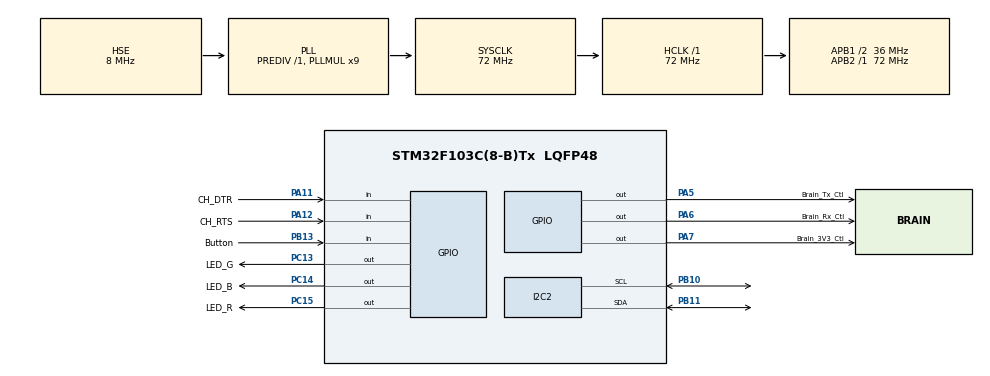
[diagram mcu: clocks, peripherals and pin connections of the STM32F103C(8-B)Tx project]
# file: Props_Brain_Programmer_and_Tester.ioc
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FREERTOS.Tasks01=defaultTask,24,128,StartDefaultTask,Default,NULL,Dynamic,NULL,NULL;buttonTask,8,128,StartButtonTask,Default,NULL,Dynamic,NULL,NULL
FREERTOS.configUSE_NEWLIB_REENTRANT=1
I2C2.OwnAddress=0x0d
Mcu.Family=STM32F1
Mcu.Name=STM32F103C(8-B)Tx
Mcu.Package=LQFP48
NVIC.I2C2_ER_IRQn=true\:5\:0\:false\:false\:true\:true\:true\:true\:true
NVIC.I2C2_EV_IRQn=true\:5\:0\:false\:false\:true\:true\:true\:true\:true
NVIC.PriorityGroup=NVIC_PRIORITYGROUP_4
PA11.GPIO_Label=CH_DTR
PA11.Signal=GPIO_Input
PA12.GPIO_Label=CH_RTS
PA12.Signal=GPIO_Input
PA5.GPIO_Label=Brain_Tx_Ctl
PA5.Signal=GPIO_Output
PA6.GPIO_Label=Brain_Rx_Ctl
PA6.Signal=GPIO_Output
PA7.GPIO_Label=Brain_3V3_Ctl
PA7.Signal=GPIO_Output
PB10.Mode=I2C
PB10.Signal=I2C2_SCL
PB11.Mode=I2C
PB11.Signal=I2C2_SDA
PB13.GPIO_Label=Button
PB13.Signal=GPIO_Input
PC13-TAMPER-RTC.GPIO_Label=LED_G
PC13-TAMPER-RTC.Signal=GPIO_Output
PC14-OSC32_IN.GPIO_Label=LED_B
PC14-OSC32_IN.Signal=GPIO_Output
PC15-OSC32_OUT.GPIO_Label=LED_R
PC15-OSC32_OUT.Signal=GPIO_Output
PD0-OSC_IN.Mode=HSE-External-Oscillator
PD0-OSC_IN.Signal=RCC_OSC_IN
PD1-OSC_OUT.Mode=HSE-External-Oscillator
PD1-OSC_OUT.Signal=RCC_OSC_OUT
ProjectManager.HeapSize=0x200
ProjectManager.StackSize=0x400
ProjectManager.TargetToolchain=STM32CubeIDE
RCC.AHBFreq_Value=72000000
RCC.APB1CLKDivider=RCC_HCLK_DIV2
RCC.APB1Freq_Value=36000000
RCC.APB1TimFreq_Value=72000000
RCC.APB2Freq_Value=72000000
RCC.APB2TimFreq_Value=72000000
RCC.HCLKFreq_Value=72000000
RCC.PLLMUL=RCC_PLL_MUL9
RCC.PLLSourceVirtual=RCC_PLLSOURCE_HSE
RCC.SYSCLKFreq_VALUE=72000000
RCC.SYSCLKSource=RCC_SYSCLKSOURCE_PLLCLK
RCC.USBFreq_Value=72000000
VP_FREERTOS_VS_CMSIS_V2.Mode=CMSIS_V2
board=custom

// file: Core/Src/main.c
/* USER CODE BEGIN Header */
/**
  ******************************************************************************
  * @file           : main.c
  * @brief          : Main program body
  ******************************************************************************
  * @attention
  *
  * Copyright (c) 2023 STMicroelectronics.
  * All rights reserved.
  *
  * This software is licensed under terms that can be found in the LICENSE file
  * in the root directory of this software component.
  * If no LICENSE file comes with this software, it is provided AS-IS.
  *
  ******************************************************************************
  */
/* USER CODE END Header */
#include "main.h"
#include "cmsis_os.h"

/* USER CODE BEGIN Includes */
#include <stdio.h>
/* USER CODE END Includes */

/* USER CODE BEGIN PTD */
enum SlaveMode {
	Receiving,
	Transmitting,
	Listening
} slaveMode = Listening;
/* USER CODE END PTD */

/* USER CODE BEGIN PD */
#define BUFFER_SIZE 9
/* USER CODE END PD */

I2C_HandleTypeDef hi2c2;

/* Definitions for defaultTask */
osThreadId_t defaultTaskHandle;
const osThreadAttr_t defaultTask_attributes = {
  .name = "defaultTask",
  .stack_size = 128 * 4,
  .priority = (osPriority_t) osPriorityNormal,
};
/* Definitions for buttonTask */
osThreadId_t buttonTaskHandle;
const osThreadAttr_t buttonTask_attributes = {
  .name = "buttonTask",
  .stack_size = 128 * 4,
  .priority = (osPriority_t) osPriorityLow,
};
/* USER CODE BEGIN PV */
uint8_t receivingBuffer[BUFFER_SIZE] = {0};
uint8_t receivingBufferDataSize = 0;

uint8_t transmittingBuffer[BUFFER_SIZE] = {0};
uint8_t transmittingBufferDataSize = 0;

uint16_t count = 0;
uint8_t RxData[BUFFER_SIZE];

uint8_t i2cButtonData[4] = {0x15, 0x01, 0xFE, 0x10};

uint8_t buttonState = 0; // 0 unpressed, 1 pressed
/* USER CODE END PV */

void SystemClock_Config(void);
static void MX_GPIO_Init(void);
static void MX_I2C2_Init(void);
void StartDefaultTask(void *argument);
void StartButtonTask(void *argument);

/* USER CODE BEGIN PFP */
void toggleGPIO(GPIO_TypeDef * GPIO_Port, uint16_t GPIO_Pin);
void i2c_send_button(I2C_HandleTypeDef *hi2c);

extern void HAL_I2C_ListenCpltCallback (I2C_HandleTypeDef *hi2c)
{
	HAL_I2C_EnableListen_IT(hi2c);
}

extern void HAL_I2C_AddrCallback(I2C_HandleTypeDef *hi2c, uint8_t TransferDirection, uint16_t AddrMatchCode)
{
	if(TransferDirection == I2C_DIRECTION_TRANSMIT)  // if the master wants to transmit the data
	{
		HAL_I2C_Slave_Sequential_Receive_IT(hi2c, RxData, 9, I2C_FIRST_AND_LAST_FRAME);
	}
	else  // master requesting the data is not supported yet
	{
		toggleGPIO(LED_B_GPIO_Port, LED_B_Pin);
		HAL_I2C_Slave_Sequential_Receive_IT(hi2c, RxData, 1, I2C_FIRST_AND_LAST_FRAME);
		if(buttonState)
		{
			i2cButtonData[1] = 0x01;
			i2cButtonData[2] = 0xFE;
		}
		else
		{
			i2cButtonData[1] = 0x00;
			i2cButtonData[2] = 0xFF;
		}
		i2c_send_button(hi2c);
//		Error_Handler();  // call error handler
	}
}

void i2c_send_button(I2C_HandleTypeDef *hi2c)
{
	HAL_I2C_Slave_Seq_Transmit_IT(hi2c, i2cButtonData, 4, I2C_FIRST_AND_LAST_FRAME);
}

void HAL_I2C_SlaveRxCpltCallback(I2C_HandleTypeDef *hi2c)
{
	count++;
}

void HAL_I2C_ErrorCallback(I2C_HandleTypeDef *hi2c)
{
	HAL_I2C_EnableListen_IT(hi2c);
}
/* USER CODE END PFP */

/* USER CODE BEGIN 0 */
//int _write(int file, char *ptr, int len)
//{
//	HAL_UART_Transmit( &huart2, (unsigned char*)ptr, len, HAL_MAX_DELAY );
//	return len;
//}
//
//#define PRINTF(...) printf(__VA_ARGS__)
/* USER CODE END 0 */

int main(void)
{

  /* MCU Configuration--------------------------------------------------------*/

  /* Reset of all peripherals, Initializes the Flash interface and the Systick. */
  HAL_Init();

  /* Configure the system clock */
  SystemClock_Config();

  /* Initialize all configured peripherals */
  MX_GPIO_Init();
  MX_I2C2_Init();

  /* Init scheduler */
  osKernelInitialize();

  /* Create the thread(s) */
  /* creation of defaultTask */
  defaultTaskHandle = osThreadNew(StartDefaultTask, NULL, &defaultTask_attributes);

  /* creation of buttonTask */
  buttonTaskHandle = osThreadNew(StartButtonTask, NULL, &buttonTask_attributes);

  /* Start scheduler */
  osKernelStart();

  /* We should never get here as control is now taken by the scheduler */
  /* Infinite loop */
  while (1)
  {

  }
}

void SystemClock_Config(void)
{
  RCC_OscInitTypeDef RCC_OscInitStruct = {0};
  RCC_ClkInitTypeDef RCC_ClkInitStruct = {0};

  /** Initializes the RCC Oscillators according to the specified parameters
  * in the RCC_OscInitTypeDef structure.
  */
  RCC_OscInitStruct.OscillatorType = RCC_OSCILLATORTYPE_HSE;
  RCC_OscInitStruct.HSEState = RCC_HSE_ON;
  RCC_OscInitStruct.HSEPredivValue = RCC_HSE_PREDIV_DIV1;
  RCC_OscInitStruct.HSIState = RCC_HSI_ON;
  RCC_OscInitStruct.PLL.PLLState = RCC_PLL_ON;
  RCC_OscInitStruct.PLL.PLLSource = RCC_PLLSOURCE_HSE;
  RCC_OscInitStruct.PLL.PLLMUL = RCC_PLL_MUL9;
  if (HAL_RCC_OscConfig(&RCC_OscInitStruct) != HAL_OK)
  {
    Error_Handler();
  }

  /** Initializes the CPU, AHB and APB buses clocks
  */
  RCC_ClkInitStruct.ClockType = RCC_CLOCKTYPE_HCLK|RCC_CLOCKTYPE_SYSCLK
                              |RCC_CLOCKTYPE_PCLK1|RCC_CLOCKTYPE_PCLK2;
  RCC_ClkInitStruct.SYSCLKSource = RCC_SYSCLKSOURCE_PLLCLK;
  RCC_ClkInitStruct.AHBCLKDivider = RCC_SYSCLK_DIV1;
  RCC_ClkInitStruct.APB1CLKDivider = RCC_HCLK_DIV2;
  RCC_ClkInitStruct.APB2CLKDivider = RCC_HCLK_DIV1;

  if (HAL_RCC_ClockConfig(&RCC_ClkInitStruct, FLASH_LATENCY_2) != HAL_OK)
  {
    Error_Handler();
  }
}

static void MX_I2C2_Init(void)
{

  hi2c2.Instance = I2C2;
  hi2c2.Init.ClockSpeed = 100000;
  hi2c2.Init.DutyCycle = I2C_DUTYCYCLE_2;
  hi2c2.Init.OwnAddress1 = 26;
  hi2c2.Init.AddressingMode = I2C_ADDRESSINGMODE_7BIT;
  hi2c2.Init.DualAddressMode = I2C_DUALADDRESS_DISABLE;
  hi2c2.Init.OwnAddress2 = 0;
  hi2c2.Init.GeneralCallMode = I2C_GENERALCALL_DISABLE;
  hi2c2.Init.NoStretchMode = I2C_NOSTRETCH_DISABLE;
  if (HAL_I2C_Init(&hi2c2) != HAL_OK)
  {
    Error_Handler();
  }

}

static void MX_GPIO_Init(void)
{
  GPIO_InitTypeDef GPIO_InitStruct = {0};

  /* GPIO Ports Clock Enable */
  __HAL_RCC_GPIOC_CLK_ENABLE();
  __HAL_RCC_GPIOD_CLK_ENABLE();
  __HAL_RCC_GPIOA_CLK_ENABLE();
  __HAL_RCC_GPIOB_CLK_ENABLE();

  /*Configure GPIO pin Output Level */
  HAL_GPIO_WritePin(GPIOC, LED_G_Pin|LED_B_Pin|LED_R_Pin, GPIO_PIN_RESET);

  /*Configure GPIO pin Output Level */
  HAL_GPIO_WritePin(GPIOA, Brain_Tx_Ctl_Pin|Brain_Rx_Ctl_Pin|Brain_3V3_Ctl_Pin, GPIO_PIN_RESET);

  /*Configure GPIO pins : LED_G_Pin LED_B_Pin LED_R_Pin */
  GPIO_InitStruct.Pin = LED_G_Pin|LED_B_Pin|LED_R_Pin;
  GPIO_InitStruct.Mode = GPIO_MODE_OUTPUT_PP;
  GPIO_InitStruct.Pull = GPIO_NOPULL;
  GPIO_InitStruct.Speed = GPIO_SPEED_FREQ_LOW;
  HAL_GPIO_Init(GPIOC, &GPIO_InitStruct);

  /*Configure GPIO pins : Brain_Tx_Ctl_Pin Brain_Rx_Ctl_Pin Brain_3V3_Ctl_Pin */
  GPIO_InitStruct.Pin = Brain_Tx_Ctl_Pin|Brain_Rx_Ctl_Pin|Brain_3V3_Ctl_Pin;
  GPIO_InitStruct.Mode = GPIO_MODE_OUTPUT_PP;
  GPIO_InitStruct.Pull = GPIO_NOPULL;
  GPIO_InitStruct.Speed = GPIO_SPEED_FREQ_LOW;
  HAL_GPIO_Init(GPIOA, &GPIO_InitStruct);

  /*Configure GPIO pin : Button_Pin */
  GPIO_InitStruct.Pin = Button_Pin;
  GPIO_InitStruct.Mode = GPIO_MODE_INPUT;
  GPIO_InitStruct.Pull = GPIO_NOPULL;
  HAL_GPIO_Init(Button_GPIO_Port, &GPIO_InitStruct);

  /*Configure GPIO pins : CH_DTR_Pin CH_RTS_Pin */
  GPIO_InitStruct.Pin = CH_DTR_Pin|CH_RTS_Pin;
  GPIO_InitStruct.Mode = GPIO_MODE_INPUT;
  GPIO_InitStruct.Pull = GPIO_NOPULL;
  HAL_GPIO_Init(GPIOA, &GPIO_InitStruct);

}

/* USER CODE BEGIN 4 */
void toggleGPIO(GPIO_TypeDef * GPIO_Port, uint16_t GPIO_Pin)
{
	GPIO_Port -> ODR ^= GPIO_Pin;
}

void brainPower(uint8_t state) //0=off 1=on
{
	if(state) //turn on
	{
		HAL_GPIO_WritePin(Brain_3V3_Ctl_GPIO_Port, Brain_3V3_Ctl_Pin, GPIO_PIN_RESET); // turning on
	}
	else
	{
		HAL_GPIO_WritePin(Brain_3V3_Ctl_GPIO_Port, Brain_3V3_Ctl_Pin, GPIO_PIN_SET); // turning off
	}
}

void brainEnterProgramMode()
{
	brainPower(0); //turn off brain
	HAL_GPIO_WritePin(Brain_Tx_Ctl_GPIO_Port, Brain_Tx_Ctl_Pin, GPIO_PIN_SET); // pull low Tx
//	HAL_GPIO_WritePin(Brain_Rx_Ctl_GPIO_Port, Brain_Rx_Ctl_Pin, GPIO_PIN_SET); // pull low Rx
	HAL_Delay(2000);
	brainPower(1); //turn on brain
	HAL_Delay(100);
	brainPower(0); //turn off brain
	HAL_Delay(100);
	brainPower(1); //turn on brain
	HAL_Delay(1000);
	HAL_GPIO_WritePin(Brain_Tx_Ctl_GPIO_Port, Brain_Tx_Ctl_Pin, GPIO_PIN_RESET); // release Tx
//	HAL_GPIO_WritePin(Brain_Rx_Ctl_GPIO_Port, Brain_Rx_Ctl_Pin, GPIO_PIN_RESET); // release Rx
}
/* USER CODE END 4 */

void StartDefaultTask(void *argument)
{
  /* USER CODE BEGIN 5 */
//	printf("Entering programming mode\n");
//	brainEnterProgramMode();
	HAL_I2C_EnableListen_IT(&hi2c2);
  /* Infinite loop */
  for(;;)
  {
  	printf("Turn on brain\n");
  	brainPower(1);
  	toggleGPIO(LED_R_GPIO_Port, LED_R_Pin);
    osDelay(500);
    if(count>0)
    {
    	count--;
      toggleGPIO(LED_G_GPIO_Port, LED_G_Pin);
    }
//    osDelay(500);
//    toggleGPIO(LED_B_GPIO_Port, LED_B_Pin);
//    osDelay(500);
  }
  /* USER CODE END 5 */
}

void StartButtonTask(void *argument)
{
  /* USER CODE BEGIN StartButtonTask */
  /* Infinite loop */
  for(;;)
  {
  	if(HAL_GPIO_ReadPin(Button_GPIO_Port, Button_Pin)) //if not pressed
  	{
  		buttonState = 0;
  	}
  	else
  	{
  		buttonState = 1;
  	}
    osDelay(20);
  }
  /* USER CODE END StartButtonTask */
}

void Error_Handler(void)
{
  __disable_irq();
  while (1)
  {
  }
}
